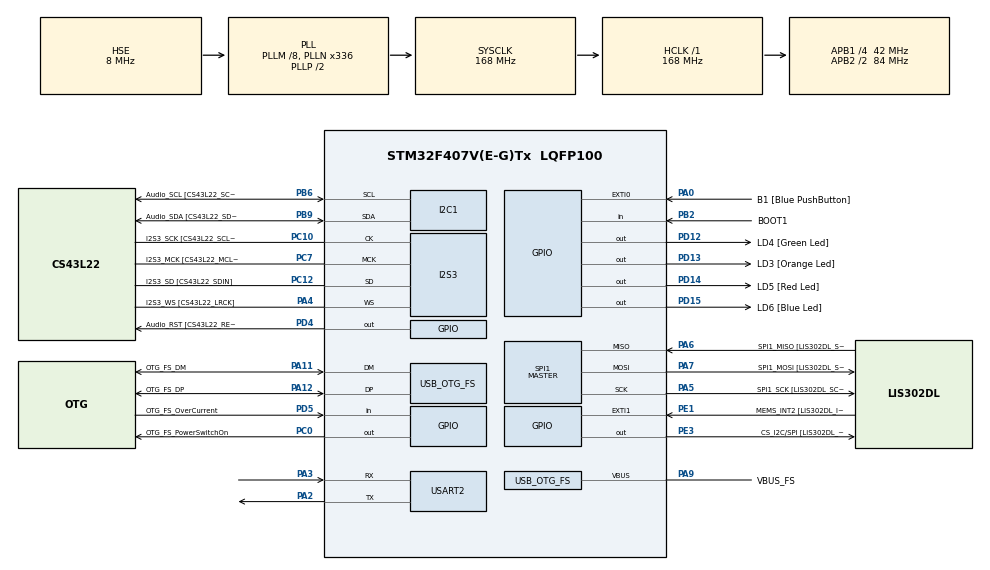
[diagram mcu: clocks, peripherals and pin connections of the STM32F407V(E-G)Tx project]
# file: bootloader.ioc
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I2S3.AudioFreq-Half_Duplex_Master=I2S_AUDIOFREQ_96K
I2S3.ErrorAudioFreq=-2.34 %
I2S3.ErrorAudioFreq-Half_Duplex_Master=0.8 %
I2S3.FullDuplexMode=I2S_FULLDUPLEXMODE_DISABLE
I2S3.Instance=SPI$Index
I2S3.RealAudioFreq=93.75 KHz
I2S3.RealAudioFreq-Half_Duplex_Master=96.774 KHz
I2S3.VirtualMode=I2S_MODE_MASTER
MBEDTLS.MBEDTLS_TCP_IP=1
Mcu.Family=STM32F4
Mcu.Name=STM32F407V(E-G)Tx
Mcu.Package=LQFP100
NVIC.HASH_RNG_IRQn=true\:0\:0\:false\:false\:true\:true\:true\:true
NVIC.OTG_FS_IRQn=true\:0\:0\:false\:false\:true\:true\:true\:true
NVIC.PriorityGroup=NVIC_PRIORITYGROUP_0
PA0-WKUP.GPIO_Label=B1 [Blue PushButton]
PA0-WKUP.GPIO_ModeDefaultEXTI=GPIO_MODE_EVT_RISING
PA0-WKUP.GPIO_PuPd=GPIO_NOPULL
PA0-WKUP.Signal=GPXTI0
PA10.GPIO_Label=OTG_FS_ID
PA10.GPIO_Mode=GPIO_MODE_AF_PP
PA10.GPIO_PuPd=GPIO_NOPULL
PA10.GPIO_Speed=GPIO_SPEED_FREQ_LOW
PA10.Signal=USB_OTG_FS_ID
PA11.GPIO_Label=OTG_FS_DM
PA11.GPIO_Mode=GPIO_MODE_AF_PP
PA11.GPIO_PuPd=GPIO_NOPULL
PA11.GPIO_Speed=GPIO_SPEED_FREQ_LOW
PA11.Mode=Host_Only
PA11.Signal=USB_OTG_FS_DM
PA12.GPIO_Label=OTG_FS_DP
PA12.GPIO_Mode=GPIO_MODE_AF_PP
PA12.GPIO_PuPd=GPIO_NOPULL
PA12.GPIO_Speed=GPIO_SPEED_FREQ_LOW
PA12.Mode=Host_Only
PA12.Signal=USB_OTG_FS_DP
PA13.GPIO_Label=SWDIO
PA13.Mode=Serial_Wire
PA13.Signal=SYS_JTMS-SWDIO
PA14.GPIO_Label=SWCLK
PA14.Mode=Serial_Wire
PA14.Signal=SYS_JTCK-SWCLK
PA2.Mode=Asynchronous
PA2.Signal=USART2_TX
PA3.Mode=Asynchronous
PA3.Signal=USART2_RX
PA4.GPIO_Label=I2S3_WS [CS43L22_LRCK]
PA4.GPIO_Mode=GPIO_MODE_AF_PP
PA4.GPIO_PuPd=GPIO_NOPULL
PA4.GPIO_Speed=GPIO_SPEED_FREQ_LOW
PA4.Mode=Half_Duplex_Master
PA4.Signal=I2S3_WS
PA5.GPIO_Label=SPI1_SCK [LIS302DL_SCL/SPC]
PA5.GPIO_Mode=GPIO_MODE_AF_PP
PA5.GPIO_PuPd=GPIO_NOPULL
PA5.GPIO_Speed=GPIO_SPEED_FREQ_LOW
PA5.Mode=Full_Duplex_Master
PA5.Signal=SPI1_SCK
PA6.GPIO_Label=SPI1_MISO [LIS302DL_SDO]
PA6.GPIO_Mode=GPIO_MODE_AF_PP
PA6.GPIO_PuPd=GPIO_NOPULL
PA6.GPIO_Speed=GPIO_SPEED_FREQ_LOW
PA6.Mode=Full_Duplex_Master
PA6.Signal=SPI1_MISO
PA7.GPIO_Label=SPI1_MOSI [LIS302DL_SDA/SDI/SDO]
PA7.GPIO_Mode=GPIO_MODE_AF_PP
PA7.GPIO_PuPd=GPIO_NOPULL
PA7.GPIO_Speed=GPIO_SPEED_FREQ_LOW
PA7.Mode=Full_Duplex_Master
PA7.Signal=SPI1_MOSI
PA9.GPIO_Label=VBUS_FS
PA9.GPIO_Mode=GPIO_MODE_INPUT
PA9.GPIO_PuPd=GPIO_NOPULL
PA9.Mode=Activate_VBUS
PA9.Signal=USB_OTG_FS_VBUS
PB10.GPIO_Label=CLK_IN [MP45DT02_CLK]
PB10.GPIO_Mode=GPIO_MODE_AF_PP
PB10.GPIO_PuPd=GPIO_NOPULL
PB10.GPIO_Speed=GPIO_SPEED_FREQ_LOW
PB10.Signal=I2S2_CK
PB2.GPIO_Label=BOOT1
PB2.GPIO_Mode=GPIO_MODE_INPUT
PB2.GPIO_PuPd=GPIO_NOPULL
PB2.Signal=GPIO_Input
PB3.GPIO_Label=SWO
PB3.Signal=SYS_JTDO-SWO
PB6.GPIO_Label=Audio_SCL [CS43L22_SCL]
PB6.GPIO_Mode=GPIO_MODE_AF_OD
PB6.GPIO_Pu=GPIO_PULLUP
PB6.GPIO_PuPd=GPIO_NOPULL
PB6.GPIO_Speed=GPIO_SPEED_FREQ_LOW
PB6.Mode=I2C
PB6.Signal=I2C1_SCL
PB9.GPIO_Label=Audio_SDA [CS43L22_SDA]
PB9.GPIO_Mode=GPIO_MODE_AF_OD
PB9.GPIO_Pu=GPIO_PULLUP
PB9.GPIO_PuPd=GPIO_NOPULL
PB9.GPIO_Speed=GPIO_SPEED_FREQ_LOW
PB9.Mode=I2C
PB9.Signal=I2C1_SDA
PC0.GPIO_Label=OTG_FS_PowerSwitchOn
PC0.GPIO_PuPd=GPIO_NOPULL
PC0.GPIO_Speed=GPIO_SPEED_FREQ_LOW
PC0.PinState=GPIO_PIN_SET
PC0.Signal=GPIO_Output
PC10.GPIO_Label=I2S3_SCK [CS43L22_SCLK]
PC10.GPIO_Mode=GPIO_MODE_AF_PP
PC10.GPIO_PuPd=GPIO_NOPULL
PC10.GPIO_Speed=GPIO_SPEED_FREQ_LOW
PC10.Mode=Half_Duplex_Master
PC10.Signal=I2S3_CK
PC12.GPIO_Label=I2S3_SD [CS43L22_SDIN]
PC12.GPIO_Mode=GPIO_MODE_AF_PP
PC12.GPIO_PuPd=GPIO_NOPULL
PC12.GPIO_Speed=GPIO_SPEED_FREQ_LOW
PC12.Mode=Half_Duplex_Master
PC12.Signal=I2S3_SD
PC14-OSC32_IN.GPIO_Label=PC14-OSC32_IN
PC14-OSC32_IN.Mode=LSE-External-Oscillator
PC14-OSC32_IN.Signal=RCC_OSC32_IN
PC15-OSC32_OUT.GPIO_Label=PC15-OSC32_OUT
PC15-OSC32_OUT.Mode=LSE-External-Oscillator
PC15-OSC32_OUT.Signal=RCC_OSC32_OUT
PC3.GPIO_Label=PDM_OUT [MP45DT02_DOUT]
PC3.GPIO_Mode=GPIO_MODE_AF_PP
PC3.GPIO_PuPd=GPIO_NOPULL
PC3.GPIO_Speed=GPIO_SPEED_FREQ_LOW
PC3.Signal=I2S2_SD
PC7.GPIO_Label=I2S3_MCK [CS43L22_MCLK]
PC7.GPIO_Mode=GPIO_MODE_AF_PP
PC7.GPIO_PuPd=GPIO_NOPULL
PC7.GPIO_Speed=GPIO_SPEED_FREQ_LOW
PC7.Mode=Master_Clock_Activated
PC7.Signal=I2S3_MCK
PD12.GPIO_Label=LD4 [Green Led]
PD12.GPIO_PuPd=GPIO_NOPULL
PD12.GPIO_Speed=GPIO_SPEED_FREQ_LOW
PD12.Signal=GPIO_Output
PD13.GPIO_Label=LD3 [Orange Led]
PD13.GPIO_PuPd=GPIO_NOPULL
PD13.GPIO_Speed=GPIO_SPEED_FREQ_LOW
PD13.Signal=GPIO_Output
PD14.GPIO_Label=LD5 [Red Led]
PD14.GPIO_PuPd=GPIO_NOPULL
PD14.GPIO_Speed=GPIO_SPEED_FREQ_LOW
PD14.Signal=GPIO_Output
PD15.GPIO_Label=LD6 [Blue Led]
PD15.GPIO_PuPd=GPIO_NOPULL
PD15.GPIO_Speed=GPIO_SPEED_FREQ_LOW
PD15.Signal=GPIO_Output
PD4.GPIO_Label=Audio_RST [CS43L22_RESET]
PD4.GPIO_PuPd=GPIO_NOPULL
PD4.GPIO_Speed=GPIO_SPEED_FREQ_LOW
PD4.Signal=GPIO_Output
PD5.GPIO_Label=OTG_FS_OverCurrent
PD5.GPIO_Mode=GPIO_MODE_INPUT
PD5.GPIO_PuPd=GPIO_NOPULL
PD5.Signal=GPIO_Input
PE1.GPIO_Label=MEMS_INT2 [LIS302DL_INT2]
PE1.GPIO_ModeDefaultEXTI=GPIO_MODE_EVT_RISING
PE1.GPIO_PuPd=GPIO_NOPULL
PE1.Signal=GPXTI1
PE3.GPIO_Label=CS_I2C/SPI [LIS302DL_CS_I2C/SPI]
PE3.GPIO_PuPd=GPIO_NOPULL
PE3.GPIO_Speed=GPIO_SPEED_FREQ_LOW
PE3.Signal=GPIO_Output
PH0-OSC_IN.GPIO_Label=PH0-OSC_IN
PH0-OSC_IN.Mode=HSE-External-Oscillator
PH0-OSC_IN.Signal=RCC_OSC_IN
PH1-OSC_OUT.GPIO_Label=PH1-OSC_OUT
PH1-OSC_OUT.Mode=HSE-External-Oscillator
PH1-OSC_OUT.Signal=RCC_OSC_OUT
ProjectManager.HeapSize=0x200
ProjectManager.StackSize=0x400
ProjectManager.TargetToolchain=STM32CubeIDE
RCC.48MHZClocksFreq_Value=48000000
RCC.AHBFreq_Value=168000000
RCC.APB1CLKDivider=RCC_HCLK_DIV4
RCC.APB1Freq_Value=42000000
RCC.APB1TimFreq_Value=84000000
RCC.APB2CLKDivider=RCC_HCLK_DIV2
RCC.APB2Freq_Value=84000000
RCC.APB2TimFreq_Value=168000000
RCC.CortexFreq_Value=168000000
RCC.HCLKFreq_Value=168000000
RCC.HSE_VALUE=8000000
RCC.HSI_VALUE=16000000
RCC.PLLM=8
RCC.PLLN=336
RCC.PLLQ=7
RCC.SYSCLKFreq_VALUE=168000000
RCC.SYSCLKSource=RCC_SYSCLKSOURCE_PLLCLK
RCC.VCOOutputFreq_Value=336000000
SPI1.BaudRatePrescaler-Full_Duplex_Master=SPI_BAUDRATEPRESCALER_2
SPI1.CalculateBaudRate-Full_Duplex_Master=42.0 MBits/s
SPI1.Direction=SPI_DIRECTION_2LINES
SPI1.Mode=SPI_MODE_MASTER
SPI1.Mode-Full_Duplex_Master=SPI_MODE_MASTER
SPI1.VirtualType=VM_MASTER
USART2.VirtualMode=VM_ASYNC
USB_OTG_FS.VirtualMode=Host_Only
USB_OTG_FS.phy_itface=HCD_PHY_EMBEDDED
VP_CRC_VS_CRC.Mode=CRC_Activate
VP_MBEDTLS_VS_MBEDTLS.Mode=Enabled
VP_RNG_VS_RNG.Mode=RNG_Activate
board=STM32F407G-DISC1

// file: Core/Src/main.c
/* USER CODE BEGIN Header */
/**
  ******************************************************************************
  * @file           : main.c
  * @brief          : Main program body
  ******************************************************************************
  * @attention
  *
  * Copyright (c) 2026 STMicroelectronics.
  * All rights reserved.
  *
  * This software is licensed under terms that can be found in the LICENSE file
  * in the root directory of this software component.
  * If no LICENSE file comes with this software, it is provided AS-IS.
  *
  ******************************************************************************
  */
/* USER CODE END Header */
#include "main.h"
#include "crc.h"
#include "i2c.h"
#include "i2s.h"
#include "mbedtls.h"
#include "rng.h"
#include "spi.h"
#include "usart.h"
#include "usb_otg.h"
#include "gpio.h"

/* USER CODE BEGIN Includes */
#include <stdio.h>
#include "app_data.h"
#include "validate_image.h"
/* USER CODE END Includes */

/* USER CODE BEGIN PD */
#define BL_VERSION "v0.0.3"
/* USER CODE END PD */

/* USER CODE BEGIN PV */
static image_header_t *image_header;
/* USER CODE END PV */

void SystemClock_Config(void);
/* USER CODE BEGIN PFP */

typedef void (*fnPtr_t)(void);
extern uint32_t _app_start;

void jump_to_application(void)
{
	uint32_t vtor = (uint32_t)&(_app_start);
	fnPtr_t app = (fnPtr_t)(*(uint32_t*)(vtor  + 4));
	printf("SP = 0x%08lx\r\n", _app_start);
	printf("RESET = 0x%08lx\r\n", (uint32_t)app);
	printf("App version - %ld \r\n", image_header->fwVersion);
	__disable_irq();
	/* Stop SysTick */
	SysTick->CTRL = 0;
	SysTick->LOAD = 0;
	SysTick->VAL  = 0;

	HAL_RCC_DeInit();
	HAL_DeInit();

	/* Relocate vector table */
	SCB->VTOR = vtor;

	__DSB();
	__ISB();

	/* Set MSP */
	__set_MSP(_app_start);

	__DSB();
	__ISB();

	app();
}
/* USER CODE END PFP */

int main(void)
{

  /* USER CODE BEGIN 1 */
  uint8_t hash[32];
  uint32_t val = 0;
  /* USER CODE END 1 */

  /* MCU Configuration--------------------------------------------------------*/

  /* Reset of all peripherals, Initializes the Flash interface and the Systick. */
  HAL_Init();

  /* Configure the system clock */
  SystemClock_Config();

  /* Initialize all configured peripherals */
  MX_GPIO_Init();
  MX_I2C1_Init();
  MX_I2S3_Init();
  MX_SPI1_Init();
  MX_USB_OTG_FS_HCD_Init();
  MX_CRC_Init();
  MX_RNG_Init();
  MX_USART2_UART_Init();
  MX_MBEDTLS_Init();
  /* USER CODE BEGIN 2 */

  printf("Custom Bootloader %s\r\n",BL_VERSION);
  compute_hash(hash);
  image_header = (image_header_t*)IMAGE_HEADER;

  if(image_header->imageMagic != 0xDEADFEED)
  {
	  printf("Error - Invalid image magic");
	  while(1);
  }
  printf("computed Hash - ");
  for(int i =0; i < 32; i++)
  {
	  printf("%x",hash[i]);
	  val |= (hash[i] ^ image_header->imageHash[i]);
  }
  printf("\r\n");
  if(val == 0)
  {
	  printf("Image Verified - Entering application\r\n");
	  jump_to_application();
  }
  else
  {
	  printf("Invalid Image");
	  while(1);
  }

  /* USER CODE END 2 */

  /* Infinite loop */
  /* USER CODE BEGIN WHILE */
  while (1)
  {
	  const uint8_t ch = 'D';

	  HAL_UART_Transmit(&huart2, &ch, 1, 1000);
	  HAL_Delay(1000);

    /* USER CODE END WHILE */

  }
}

void SystemClock_Config(void)
{
  RCC_OscInitTypeDef RCC_OscInitStruct = {0};
  RCC_ClkInitTypeDef RCC_ClkInitStruct = {0};

  /** Configure the main internal regulator output voltage
  */
  __HAL_RCC_PWR_CLK_ENABLE();
  __HAL_PWR_VOLTAGESCALING_CONFIG(PWR_REGULATOR_VOLTAGE_SCALE1);

  /** Initializes the RCC Oscillators according to the specified parameters
  * in the RCC_OscInitTypeDef structure.
  */
  RCC_OscInitStruct.OscillatorType = RCC_OSCILLATORTYPE_HSE;
  RCC_OscInitStruct.HSEState = RCC_HSE_ON;
  RCC_OscInitStruct.PLL.PLLState = RCC_PLL_ON;
  RCC_OscInitStruct.PLL.PLLSource = RCC_PLLSOURCE_HSE;
  RCC_OscInitStruct.PLL.PLLM = 8;
  RCC_OscInitStruct.PLL.PLLN = 336;
  RCC_OscInitStruct.PLL.PLLP = RCC_PLLP_DIV2;
  RCC_OscInitStruct.PLL.PLLQ = 7;
  if (HAL_RCC_OscConfig(&RCC_OscInitStruct) != HAL_OK)
  {
    Error_Handler();
  }

  /** Initializes the CPU, AHB and APB buses clocks
  */
  RCC_ClkInitStruct.ClockType = RCC_CLOCKTYPE_HCLK|RCC_CLOCKTYPE_SYSCLK
                              |RCC_CLOCKTYPE_PCLK1|RCC_CLOCKTYPE_PCLK2;
  RCC_ClkInitStruct.SYSCLKSource = RCC_SYSCLKSOURCE_PLLCLK;
  RCC_ClkInitStruct.AHBCLKDivider = RCC_SYSCLK_DIV1;
  RCC_ClkInitStruct.APB1CLKDivider = RCC_HCLK_DIV4;
  RCC_ClkInitStruct.APB2CLKDivider = RCC_HCLK_DIV2;

  if (HAL_RCC_ClockConfig(&RCC_ClkInitStruct, FLASH_LATENCY_5) != HAL_OK)
  {
    Error_Handler();
  }
}

void Error_Handler(void)
{
  __disable_irq();
  while (1)
  {
  }
}
